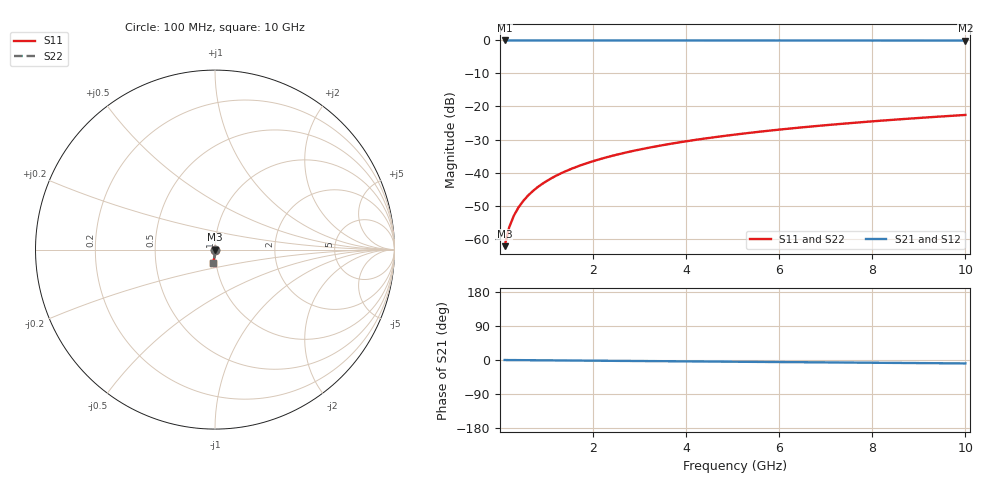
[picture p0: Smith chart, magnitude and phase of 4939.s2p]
# Hz S RI R 50.00
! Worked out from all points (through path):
!   100 points, 100 MHz to 10 GHz, reference 50 ohm
!   highest |S21| = 0.00 dB at 100 MHz (marker M1); lowest = 0.0 dB at 10 GHz (marker M2)
!   group delay of S21, straight-line fit = 2.51 ps
!   lowest |S11| = -62.3 dB at 100 MHz (marker M3), VSWR 1.00, Z = 50 - j0.0741 ohm
!   |S11| at or under -10 dB: start of sweep to end of sweep
!   |S22| runs from -62.3 to -22.6 dB; largest |S21 - S12| = 0
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1e8  0.000197 -0.000741  0.9998 -0.00156  0.9998 -0.00156  0.000197 -0.000741
2e8  0.000194 -0.00148  0.9998 -0.00313  0.9998 -0.00313  0.000194 -0.00148
3e8  0.000188 -0.00222  0.9998 -0.00469  0.9998 -0.00469  0.000188 -0.00222
4e8  0.00018 -0.00296  0.9998 -0.00626  0.9998 -0.00626  0.00018 -0.00296
5e8  0.000169 -0.0037  0.9998 -0.00782  0.9998 -0.00782  0.000169 -0.0037
6e8  0.000156 -0.00445  0.9997 -0.00939  0.9997 -0.00939  0.000156 -0.00445
7e8  0.00014 -0.00519  0.9997 -0.011  0.9997 -0.011  0.00014 -0.00519
8e8  0.000122 -0.00593  0.9997 -0.0125  0.9997 -0.0125  0.000122 -0.00593
9e8  0.000102 -0.00667  0.9997 -0.0141  0.9997 -0.0141  0.000102 -0.00667
1.1e9  5.39e-05 -0.00815  0.9996 -0.0172  0.9996 -0.0172  5.39e-05 -0.00815
1.4e9  -3.53e-05 -0.0104  0.9995 -0.0219  0.9995 -0.0219  -3.53e-05 -0.0104
1.8e9  -0.000187 -0.0133  0.9993 -0.0282  0.9993 -0.0282  -0.000187 -0.0133
2.1e9  -0.000325 -0.0156  0.9991 -0.0329  0.9991 -0.0329  -0.000325 -0.0156
2.5e9  -0.000543 -0.0185  0.9988 -0.0392  0.9988 -0.0392  -0.000543 -0.0185
2.9e9  -0.000797 -0.0215  0.9985 -0.0454  0.9985 -0.0454  -0.000797 -0.0215
3.4e9  -0.00117 -0.0252  0.998 -0.0533  0.998 -0.0533  -0.00117 -0.0252
4.2e9  -0.00188 -0.0311  0.9971 -0.0658  0.9971 -0.0658  -0.00188 -0.0311
5.1e9  -0.00287 -0.0378  0.9958 -0.0799  0.9958 -0.0799  -0.00287 -0.0378
5.9e9  -0.00391 -0.0437  0.9945 -0.0925  0.9945 -0.0925  -0.00391 -0.0437
6.7e9  -0.00509 -0.0496  0.9929 -0.105  0.9929 -0.105  -0.00509 -0.0496
8.4e9  -0.00811 -0.062  0.989 -0.1316  0.989 -0.1316  -0.00811 -0.062
1e10  -0.0116 -0.0735  0.9845 -0.1566  0.9845 -0.1566  -0.0116 -0.0735
